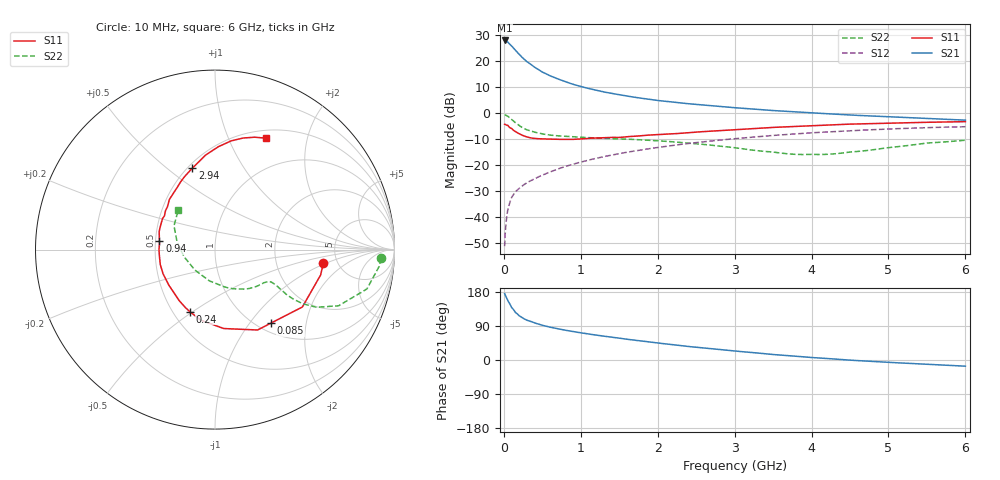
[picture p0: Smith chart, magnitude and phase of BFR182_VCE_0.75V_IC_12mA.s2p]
! Infineon Technologies  Discrete & RF Semiconductors
! BFR182
! VCE = 0.75 V,  IC =  12 mA
! Common Emitter S-Parameters:  Nov 2015
# GHz  S  MA  R  50
!  f  S11  S21  S12  S22
! GHz  MAG  ANG  MAG  ANG  MAG  ANG  MAG  ANG
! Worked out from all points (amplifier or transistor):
!   210 points, 10 MHz to 6 GHz, reference 50 ohm
!   highest |S21| = 28.0 dB at 10 MHz (marker M1)
!   |S21| within 3 dB of that: start of sweep to 126.9 MHz
!   unconditionally stable (mu >= 1): 453.8 MHz to 3.645 GHz
!   at 185 MHz: K = 0.64, MSG = 26.3 dB, |S12| = -29.4 dB
!   at 1.52 GHz: K = 1.14, MAG = 9.0 dB, |S12| = -15.5 dB
!   at 6 GHz: K = 0.99, MSG = 1.3 dB, |S12| = -5.3 dB
!   S11 on the Smith chart (normalised r, x): 10 MHz: 3.86, -0.94; 85 MHz: 1.15, -1.28; 240 MHz: 0.61, -0.49; 940 MHz: 0.53, +0.06; 2.94 GHz: 0.53, +0.62; 6 GHz: 0.60, +1.39
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0.01  0.6083 -7.2  25.23 175.2  0.0027 87.2  0.9281 -3.0
0.02  0.6053 -13.5  24.83 170.3  0.0053 83.4  0.9178 -6.1
0.05  0.5825 -33.3  23.57 157.2  0.0132 77.2  0.8744 -14.5
0.085  0.5148 -52.7  20.78 145.2  0.0202 69.3  0.7896 -21.1
0.1  0.5068 -62.1  19.92 139.1  0.0233 67.4  0.757 -24.4
0.15  0.4424 -83.7  16.32 125.8  0.0302 62.6  0.6508 -29.6
0.2  0.401 -101.5  13.56 116.7  0.0353 61.3  0.5731 -31.7
0.24  0.3731 -112.0  11.81 111.5  0.0394 61.1  0.5259 -32.2
0.26  0.3632 -116.8  11.08 109.0  0.0414 61.2  0.5063 -32.3
0.3  0.3473 -125.1  9.849 105.0  0.0452 61.9  0.4749 -32.2
0.4  0.3245 -142.5  7.674 97.7  0.0541 63.0  0.428 -31.2
0.5  0.3192 -155.1  6.201 91.4  0.0634 64.3  0.3962 -30.3
0.7  0.3119 -172.7  4.574 82.4  0.083 65.9  0.3638 -30.0
0.94  0.3133 171.2  3.456 73.8  0.1072 66.0  0.3469 -31.0
1.02  0.3191 166.4  3.199 71.1  0.1153 65.9  0.3412 -31.7
1.4  0.3398 149.5  2.396 60.3  0.1546 64.0  0.3214 -36.8
2.02  0.3853 128.4  1.74 44.4  0.219 58.9  0.2905 -47.9
2.94  0.4708 105.5  1.291 24.7  0.3145 48.8  0.2196 -73.4
3.1  0.4862 102.4  1.239 21.9  0.3301 46.7  0.2047 -79.6
4.1  0.5808 86.7  0.993 5.3  0.4241 34.0  0.1586 -141.1
5.1  0.6455 74.7  0.839 -7.2  0.4997 21.0  0.2228 164.5
6  0.6833 65.3  0.731 -16.3  0.5458 8.7  0.2996 133.2
